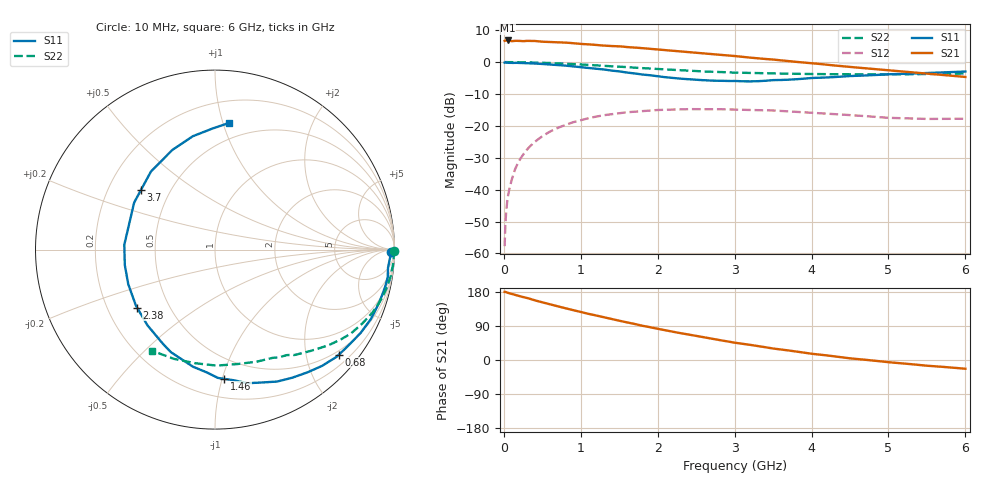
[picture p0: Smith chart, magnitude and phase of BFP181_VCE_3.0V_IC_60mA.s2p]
! Infineon Technologies  Discrete & RF Semiconductors
! BFP181
! VCE = 3.0 V,  IC =  60 mA
! Common Emitter S-Parameters:  Jan 2016
# GHz  S  MA  R  50
!  f  S11  S21  S12  S22
! GHz  MAG  ANG  MAG  ANG  MAG  ANG  MAG  ANG
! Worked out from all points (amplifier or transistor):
!   210 points, 10 MHz to 6 GHz, reference 50 ohm
!   highest |S21| = 6.8 dB at 50 MHz (marker M1)
!   |S21| within 3 dB of that: start of sweep to 2.078 GHz
!   unconditionally stable (mu >= 1): 3.583 GHz to end of sweep
!   at 185 MHz: K = 0.06, MSG = 19.1 dB, |S12| = -31.6 dB
!   at 1.52 GHz: K = 0.46, MSG = 10.4 dB, |S12| = -16.0 dB
!   at 6 GHz: K = 1.41, MAG = 2.7 dB, |S12| = -17.8 dB
!   S11 on the Smith chart (normalised r, x): 10 MHz: 66, -43; 680 MHz: 0.41, -2.67; 1.46 GHz: 0.34, -1.02; 2.38 GHz: 0.33, -0.30; 3.7 GHz: 0.34, +0.32; 6 GHz: 0.37, +1.05
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0.01  0.9788 -0.8  2.151 179.7  0.0013 84.3  0.9992 -0.3
0.015  0.9819 -1.0  2.163 179.7  0.002 83.3  0.9989 -0.4
0.025  0.9835 -1.5  2.176 179.3  0.0036 85.5  0.9984 -0.7
0.05  0.976 -2.8  2.182 177.3  0.0075 90.5  0.9971 -1.5
0.08  0.9716 -4.7  2.148 175.7  0.0113 86.2  0.9969 -2.3
0.14  0.9734 -8.5  2.151 172.3  0.0199 83.5  0.9962 -3.9
0.26  0.9645 -15.6  2.13 165.7  0.0367 79.6  0.9904 -7.5
0.4  0.9508 -24.0  2.144 157.6  0.0558 73.6  0.9837 -11.3
0.68  0.9048 -40.3  2.038 142.8  0.0906 62.0  0.9573 -18.9
0.86  0.8649 -50.7  1.998 133.6  0.1097 54.8  0.9353 -23.5
1.02  0.8287 -60.1  1.919 125.9  0.1246 49.2  0.9144 -27.3
1.46  0.722 -85.9  1.775 105.5  0.1559 34.9  0.8516 -36.7
1.7  0.6641 -100.6  1.694 95.1  0.167 28.0  0.8165 -41.3
2.02  0.5955 -120.0  1.568 81.5  0.1775 20.1  0.7776 -46.4
2.38  0.5412 -143.4  1.435 67.9  0.1829 11.6  0.7381 -52.6
2.8  0.5098 -170.3  1.296 52.7  0.1828 3.6  0.7006 -58.8
3.1  0.4999 171.5  1.209 42.9  0.1786 -1.4  0.6788 -63.5
3.7  0.5295 141.2  1.035 25.2  0.1688 -9.0  0.6575 -73.4
4.1  0.5673 125.9  0.935 14.3  0.1582 -12.8  0.6474 -81.0
4.5  0.6039 113.2  0.84 4.4  0.1476 -15.5  0.6463 -89.2
5.1  0.6481 99.1  0.726 -7.5  0.1326 -14.3  0.6422 -102.0
6  0.7104 83.6  0.584 -23.0  0.1292 -7.9  0.6633 -121.7
